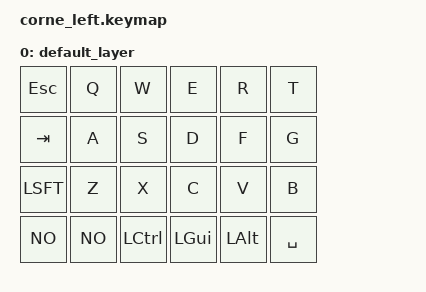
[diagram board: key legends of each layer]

#include <behaviors.dtsi>
#include <dt-bindings/zmk/keys.h>
#include <dt-bindings/zmk/bt.h>

/ {
    keymap {
        compatible = "zmk,keymap";

        default_layer {
            bindings = <
                &kp ESC   &kp Q    &kp W    &kp E    &kp R    &kp T
                &kp TAB   &kp A    &kp S    &kp D    &kp F    &kp G
                &kp LSFT  &kp Z    &kp X    &kp C    &kp V    &kp B
                &kp NO    &kp NO   &kp LCTL &kp LGUI &kp LALT &kp SPC
            >;
        };
    };
};
